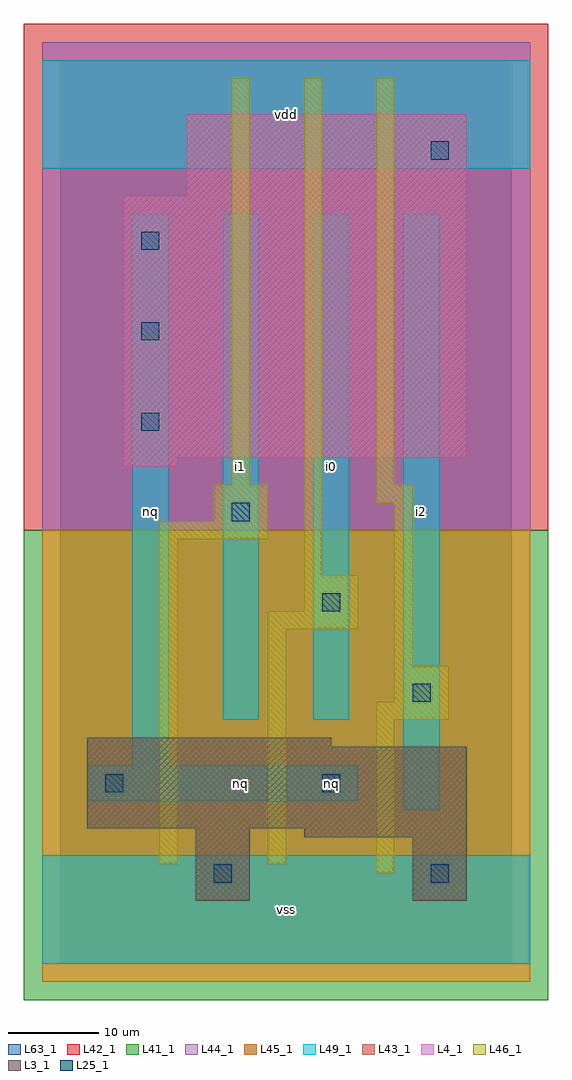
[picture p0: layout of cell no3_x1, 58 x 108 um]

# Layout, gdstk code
import gdstk
lib = gdstk.Library(unit=1e-6, precision=1e-09)
def R(c, l, rs):  # rectangles x0, y0, x1, y1
    for r in rs: c.add(gdstk.rectangle(r[:2], r[2:], *l))
def A(c, l, x, y, w, h, nx, ny, dx, dy):  # array of equal rectangles
    R(c, l, [(x+i*dx, y+j*dy, x+i*dx+w, y+j*dy+h) for i in range(nx) for j in range(ny)])
L3_1 = (3, 1)
L4_1 = (4, 1)
L25_1 = (25, 1)
L41_1 = (41, 1)
L42_1 = (42, 1)
L43_1 = (43, 1)
L44_1 = (44, 1)
L45_1 = (45, 1)
L46_1 = (46, 1)
L49_1 = (49, 1)
L63_1 = (63, 1)

no3_x1 = lib.new_cell('no3_x1')
R(no3_x1, L3_1, [(15,7,21,15), (39,7,45,14), (27,14,45,15), (3,15,45,24), (3,24,30,25)])
R(no3_x1, L4_1, [(7,55,13,56), (7,56,45,85), (14,85,45,94)])
A(no3_x1, L25_1, 9, 59, 2, 2, 1, 3, 0, 10)
R(no3_x1, L25_1, [(17,9,19,11), (41,9,43,11), (5,19,7,21), (29,19,31,21), (39,29,41,31), (29,39,31,41), (19,49,21,51), (41,89,43,91)])
R(no3_x1, L41_1, [(-4,-4,54,48)])
R(no3_x1, L42_1, [(-4,48,54,104)])
R(no3_x1, L43_1, [(15,7,21,15), (39,7,45,14), (27,14,45,15), (3,15,45,24), (3,24,30,25), (7,55,13,56), (7,56,45,85), (14,85,45,94)])
R(no3_x1, L44_1, [(-2,48,52,102)])
R(no3_x1, L45_1, [(-2,-2,52,48)])
R(no3_x1, L46_1, [(35,10,37,27), (11,11,13,47), (23,11,25,37), (35,27,43,29), (37,29,43,33), (37,33,39,51), (23,37,33,39), (27,39,33,43), (27,43,29,98), (11,47,23,49), (17,49,23,53), (35,51,39,53), (19,53,21,98), (35,53,37,98)])
R(no3_x1, L49_1, [(-2,0,52,12), (38,17,42,83), (3,18,33,22), (8,22,12,83), (18,27,22,83), (28,27,32,83), (-2,88,52,100)])
R(no3_x1, L63_1, [(0,0,50,100)])
no3_x1.add(gdstk.Label('nq', (20,20), layer=49, texttype=1))
no3_x1.add(gdstk.Label('nq', (10,50), layer=49, texttype=1))
no3_x1.add(gdstk.Label('i1', (20,55), layer=49, texttype=1))
no3_x1.add(gdstk.Label('vss', (25,6), layer=49, texttype=1))
no3_x1.add(gdstk.Label('nq', (30,20), layer=49, texttype=1))
no3_x1.add(gdstk.Label('i0', (30,55), layer=49, texttype=1))
no3_x1.add(gdstk.Label('vdd', (25,94), layer=49, texttype=1))
no3_x1.add(gdstk.Label('i2', (40,50), layer=49, texttype=1))

lib.write_gds('no3_x1.gds')
